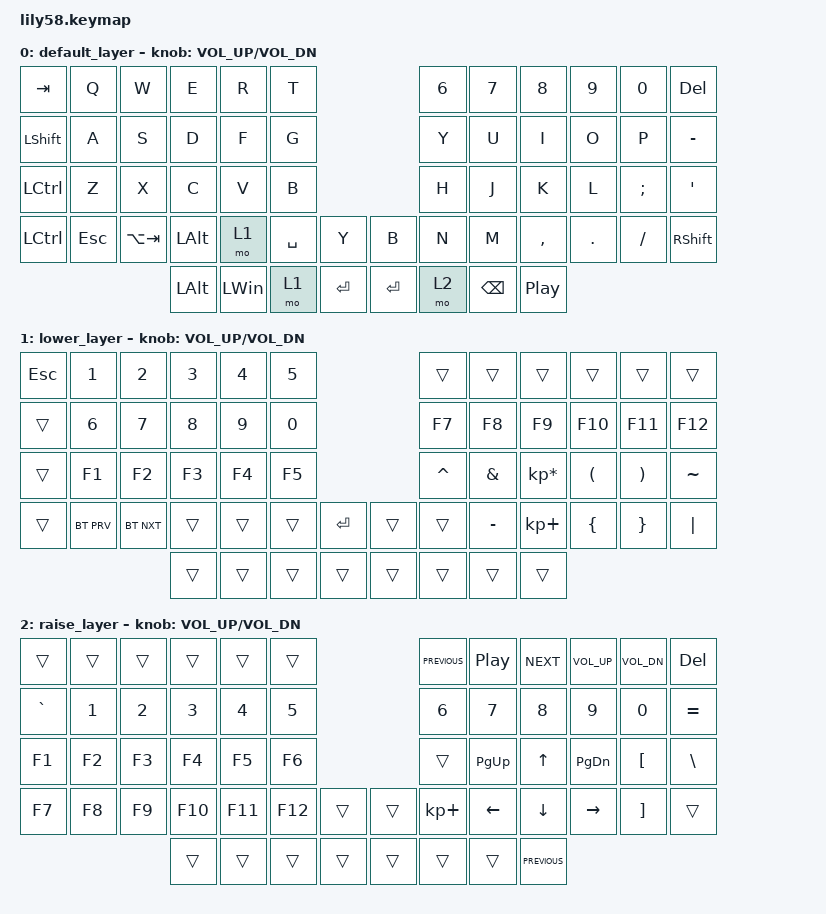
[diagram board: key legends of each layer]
/*
 * Copyright (c) 2020 The ZMK Contributors
 *
 * SPDX-License-Identifier: MIT
 */

#include <behaviors.dtsi>
#include <dt-bindings/zmk/bt.h>
#include <dt-bindings/zmk/keys.h>

/ {
    keymap {
        compatible = "zmk,keymap";

        default_layer {
            // ------------------------------------------------------------------------------------------------------------
            // |  ESC  |  1  |  2  |  3   |  4   |  5   |                   |  6   |  7    |  8    |  9   |   0   |   `   |
            // |  TAB  |  Q  |  W  |  E   |  R   |  T   |                   |  Y   |  U    |  I    |  O   |   P   |   -   |
            // |  CTRL |  A  |  S  |  D   |  F   |  G   |                   |  H   |  J    |  K    |  L   |   ;   |   '   |
            // | SHIFT |  Z  |  X  |  C   |  V   |  B   |   "["  |  |  "]"  |  N   |  M    |  ,    |  .   |   /   | SHIFT |
            //                     | ALT  | GUI  | LOWER|  SPACE |  | ENTER | RAISE| BSPC  | GUI   |

            bindings = <
&kp TAB           &kp Q       &kp W        &kp E         &kp R         &kp T                            &kp N6  &kp N7         &kp N8            &kp N9   &kp N0    &kp DEL
&kp LEFT_SHIFT    &kp A       &kp S        &kp D         &kp F         &kp G                            &kp Y   &kp U          &kp I             &kp O    &kp P     &kp MINUS
&kp LEFT_CONTROL  &kp Z       &kp X        &kp C         &kp V         &kp B                            &kp H   &kp J          &kp K             &kp L    &kp SEMI  &kp SQT
&kp LEFT_CONTROL  &kp ESCAPE  &kp LA(TAB)  &kp LEFT_ALT  &mo 1         &kp SPACE  &kp Y        &kp B    &kp N   &kp M          &kp COMMA         &kp DOT  &kp FSLH  &kp RSHFT
                                           &kp LEFT_ALT  &kp LEFT_WIN  &mo 1      &kp ENTER    &kp RET  &mo 2   &kp BACKSPACE  &kp C_PLAY_PAUSE
            >;

            sensor-bindings = <&inc_dec_kp C_VOL_UP C_VOL_DN>;
        };

        lower_layer {
            // ------------------------------------------------------------------------------------------------------------
            // | BTCLR | BT1 | BT2 |  BT3 |  BT4 |  BT5 |                   |      |       |       |      |       |       |
            // |  F1   |  F2 |  F3 |  F4  |  F5  |  F6  |                   |  F7  |  F8   |  F9   |  F10 |  F11  |  F12  |
            // |   `   |  !  |  @  |  #   |  $   |  %   |                   |  ^   |  &    |  *    |  (   |   )   |   ~   |
            // |       |     |     |      |      |      |        |  |       |      |  _    |  +    |  {   |   }   |  "|"  |
            //                     |      |      |      |        |  |       |      |       |       |

            bindings = <
&kp ESC  &kp NUMBER_1  &kp NUMBER_2  &kp NUMBER_3  &kp NUMBER_4  &kp N5                       &trans     &trans     &trans           &trans    &trans    &trans
&trans   &kp NUMBER_6  &kp N7        &kp N8        &kp N9        &kp N0                       &kp F7     &kp F8     &kp F9           &kp F10   &kp F11   &kp F12
&trans   &kp F1        &kp F2        &kp F3        &kp F4        &kp F5                       &kp CARET  &kp AMPS   &kp KP_MULTIPLY  &kp LPAR  &kp RPAR  &kp TILDE
&trans   &bt BT_PRV    &bt BT_NXT    &trans        &trans        &trans  &kp ENTER    &trans  &trans     &kp MINUS  &kp KP_PLUS      &kp LBRC  &kp RBRC  &kp PIPE
                                     &trans        &trans        &trans  &trans       &trans  &trans     &trans     &trans
            >;

            sensor-bindings = <&inc_dec_kp C_VOL_UP C_VOL_DN>;
        };

        raise_layer {
            // ------------------------------------------------------------------------------------------------------------
            // |       |     |     |      |      |      |                   |      |       |       |      |       |       |
            // |   `   |  1  |  2  |  3   |  4   |  5   |                   |  6   |   7   |   8   |  9   |   0   |       |
            // |   F1  |  F2 |  F3 |  F4  |  F5  |  F6  |                   |      |   <-  |   v   |  ^   |  ->   |       |
            // |   F7  |  F8 |  F9 |  F10 |  F11 |  F12 |        |  |       |  +   |   -   |   =   |  [   |   ]   |   \   |
            //                     |      |      |      |        |  |       |      |       |       |

            bindings = <
&trans     &trans  &trans  &trans   &trans   &trans                     &kp C_PREVIOUS  &kp C_PLAY_PAUSE  &kp C_NEXT      &kp C_VOLUME_UP  &kp C_VOL_DN      &kp DEL
&kp GRAVE  &kp N1  &kp N2  &kp N3   &kp N4   &kp N5                     &kp N6          &kp N7            &kp N8          &kp N9           &kp N0            &kp EQUAL
&kp F1     &kp F2  &kp F3  &kp F4   &kp F5   &kp F6                     &trans          &kp PAGE_UP       &kp UP_ARROW    &kp PAGE_DOWN    &kp LEFT_BRACKET  &kp BSLH
&kp F7     &kp F8  &kp F9  &kp F10  &kp F11  &kp F12  &trans    &trans  &kp KP_PLUS     &kp LEFT          &kp DOWN_ARROW  &kp RIGHT        &kp RBKT          &trans
                           &trans   &trans   &trans   &trans    &trans  &trans          &trans            &kp C_PREVIOUS
            >;

            sensor-bindings = <&inc_dec_kp C_VOL_UP C_VOL_DN>;
        };
    };
};
